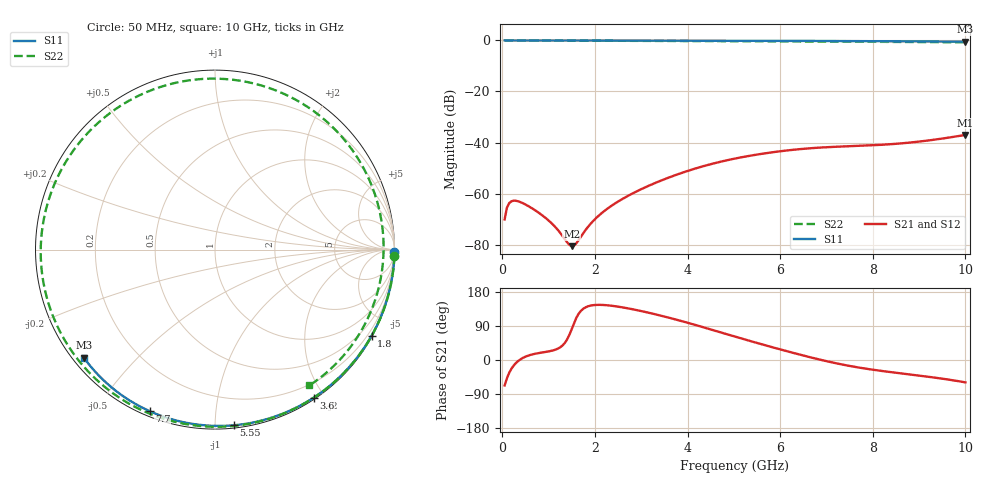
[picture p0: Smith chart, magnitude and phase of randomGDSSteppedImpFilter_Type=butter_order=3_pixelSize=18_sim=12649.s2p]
! freq	dB(S11)	phase(S11)	dB(S12)	phase(S12)
!  dB(S21)	phase(S21)	dB(S22)	phase(S22)
!S-par simulation data
#  GHz  S  DB  R 50
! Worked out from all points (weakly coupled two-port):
!   200 points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, 50 MHz to 10 GHz, reference 50 ohm
!   highest |S21| = -37.01 dB at 10 GHz (marker M1); lowest = -80.6 dB at 1.5 GHz (marker M2)
!   lowest |S11| = -0.5 dB at 10 GHz (marker M3), VSWR 36.57, Z = 1.54 - j17.9 ohm
!   |S11| at or under -10 dB: nowhere
!   |S22| runs from -0.7 to 0.0 dB; largest |S21 - S12| = 0
!   S11 on the Smith chart (normalised r, x): 50 MHz: open; 1.8 GHz: 0.03, -3.89; 3.6 GHz: 0.02, -1.87; 5.55 GHz: 0.02, -1.11; 7.7 GHz: 0.02, -0.67; 10 GHz: 0.03, -0.36
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0.05  -0.00 -0.8  -70.18 -67.2  -70.18 -67.2  -0.00 -2.0
0.1  -0.00 -1.6  -65.53 -48.1  -65.53 -48.1  -0.00 -3.9
0.15  -0.00 -2.4  -63.73 -33.6  -63.73 -33.6  -0.00 -5.9
0.4  -0.01 -6.5  -63.41 2.3  -63.41 2.3  -0.01 -15.6
0.95  -0.02 -15.4  -69.78 21.5  -69.78 21.5  -0.04 -36.7
1.5  -0.03 -24.1  -80.62 82.0  -80.62 82.0  -0.07 -57.4
1.6  -0.03 -25.7  -79.47 111.6  -79.47 111.6  -0.08 -61.2
1.75  -0.04 -28.1  -75.50 135.4  -75.50 135.4  -0.08 -66.7
1.8  -0.04 -28.9  -74.24 139.1  -74.24 139.1  -0.09 -68.6
2.4  -0.05 -38.2  -64.28 142.6  -64.28 142.6  -0.11 -90.6
3.4  -0.07 -53.4  -55.11 117.8  -55.11 117.8  -0.16 -126.8
3.6  -0.08 -56.3  -53.69 111.6  -53.69 111.6  -0.17 -134.1
4.35  -0.10 -67.2  -49.23 86.1  -49.23 86.1  -0.22 -161.9
5.05  -0.12 -77.1  -46.19 60.9  -46.19 60.9  -0.27 170.6
5.55  -0.14 -84.0  -44.58 43.3  -44.58 43.3  -0.32 149.7
6.2  -0.17 -92.7  -43.00 21.5  -43.00 21.5  -0.37 120.5
6.7  -0.19 -99.3  -42.18 5.7  -42.18 5.7  -0.41 96.6
7.2  -0.22 -105.7  -41.67 -8.4  -41.67 -8.4  -0.45 71.6
7.7  -0.26 -112.1  -41.32 -20.0  -41.32 -20.0  -0.48 46.4
8.35  -0.31 -120.2  -40.71 -31.4  -40.71 -31.4  -0.52 14.5
9.1  -0.38 -129.5  -39.42 -42.7  -39.42 -42.7  -0.59 -19.6
10  -0.48 -140.6  -37.01 -59.1  -37.01 -59.1  -0.71 -55.2
